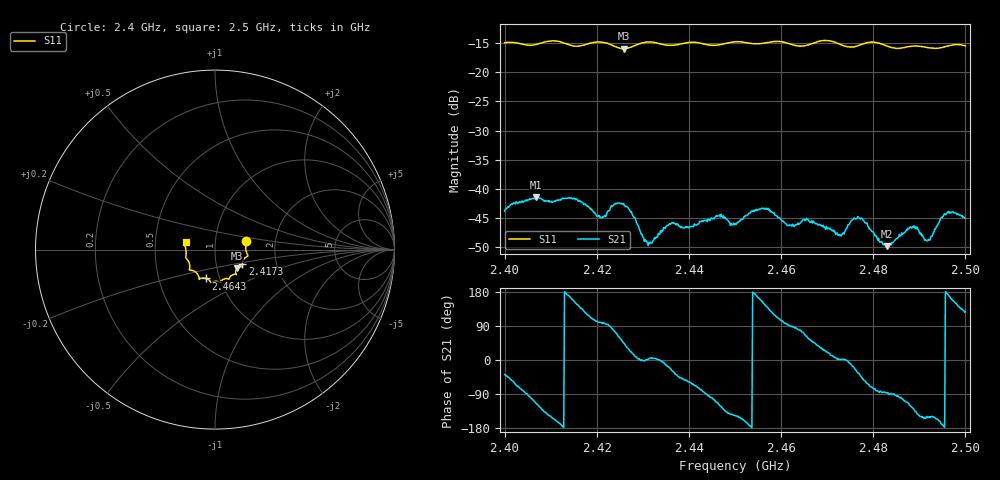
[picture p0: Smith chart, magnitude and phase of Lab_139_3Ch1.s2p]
# Hz S RI R 50
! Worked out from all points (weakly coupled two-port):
!   601 points, 2.4 GHz to 2.5 GHz, reference 50 ohm
!   highest |S21| = -41.46 dB at 2.4068 GHz (marker M1); lowest = -49.9 dB at 2.483 GHz (marker M2)
!   lowest |S11| = -15.9 dB at 2.4258 GHz (marker M3), VSWR 1.38, Z = 62.3 - j13.3 ohm
!   |S11| at or under -10 dB: start of sweep to end of sweep
!   S12 and S22 are empty: the file has one direction only
!   S11 on the Smith chart (normalised r, x): 2.4 GHz: 1.41, +0.14; 2.4173 GHz: 1.34, -0.23; 2.4643 GHz: 0.86, -0.29; 2.5 GHz: 0.72, +0.06
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2.4e9  0.1732 0.049  0.00501 -0.004  0 0  0 0
2.406833e9  0.1734 -0.00838  -0.00352 -0.00768  0 0  0 0
2.416667e9  0.153 -0.0742  -0.00553 0.00534  0 0  0 0
2.417333e9  0.1521 -0.0817  -0.00448 0.00585  0 0  0 0
2.421167e9  0.154 -0.0967  -0.000649 0.00556  0 0  0 0
2.425833e9  0.1218 -0.1038  0.00524 0.0053  0 0  0 0
2.430833e9  0.1186 -0.1389  0.00353 5.74e-05  0 0  0 0
2.433333e9  0.1128 -0.1375  0.00411 4.94e-05  0 0  0 0
2.4465e9  0.044 -0.1667  -0.00271 -0.00518  0 0  0 0
2.45e9  0.0287 -0.1813  -0.00417 -0.00276  0 0  0 0
2.456e9  -0.00682 -0.1776  -0.00609 0.0029  0 0  0 0
2.4615e9  -0.0277 -0.1757  -0.000182 0.00479  0 0  0 0
2.464333e9  -0.0496 -0.1608  0.0012 0.00502  0 0  0 0
2.466667e9  -0.0759 -0.1594  0.00348 0.00399  0 0  0 0
2.472833e9  -0.0908 -0.1487  0.00402 0.0001  0 0  0 0
2.477167e9  -0.1281 -0.1155  0.00415 -0.00358  0 0  0 0
2.483e9  -0.1403 -0.0934  0.000184 -0.00319  0 0  0 0
2.483333e9  -0.1406 -0.0898  6.22e-05 -0.00336  0 0  0 0
2.488333e9  -0.1612 -0.0486  -0.00256 -0.00379  0 0  0 0
2.492e9  -0.1609 -0.0258  -0.0032 -0.00179  0 0  0 0
2.495833e9  -0.1664 0.018  -0.00602 0.000131  0 0  0 0
2.5e9  -0.1639 0.0428  -0.00333 0.00444  0 0  0 0
